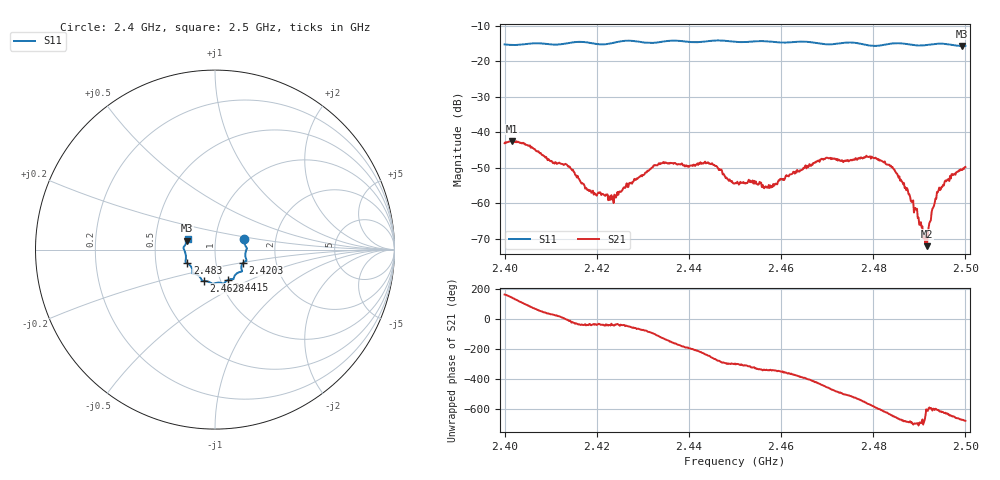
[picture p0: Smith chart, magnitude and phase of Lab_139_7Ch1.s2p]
# Hz S RI R 50
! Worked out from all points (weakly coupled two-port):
!   601 points, 2.4 GHz to 2.5 GHz, reference 50 ohm
!   highest |S21| = -42.52 dB at 2.4017 GHz (marker M1); lowest = -72.1 dB at 2.4917 GHz (marker M2)
!   lowest |S11| = -15.8 dB at 2.4993 GHz (marker M3), VSWR 1.39, Z = 36.4 + j3.68 ohm
!   |S11| at or under -10 dB: start of sweep to end of sweep
!   S12 and S22 are empty: the file has one direction only
!   S11 on the Smith chart (normalised r, x): 2.4 GHz: 1.38, +0.16; 2.4203 GHz: 1.35, -0.21; 2.4415 GHz: 1.09, -0.38; 2.4628 GHz: 0.83, -0.30; 2.483 GHz: 0.73, -0.11; 2.5 GHz: 0.73, +0.09
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2.4e9  0.162 0.0568  -0.00678 0.00168  0 0  0 0
2.401667e9  0.1635 0.0394  -0.00612 0.00431  0 0  0 0
2.413667e9  0.1717 -0.0482  0.00336 -0.000105  0 0  0 0
2.416667e9  0.1754 -0.062  0.00158 -0.00105  0 0  0 0
2.420333e9  0.1557 -0.0746  0.00123 -0.000695  0 0  0 0
2.423833e9  0.1477 -0.1065  0.00101 -0.000845  0 0  0 0
2.433333e9  0.1083 -0.148  -0.00115 -0.00333  0 0  0 0
2.4415e9  0.0732 -0.1687  -0.00317 0.00141  0 0  0 0
2.4455e9  0.0504 -0.1874  -0.000394 0.00343  0 0  0 0
2.45e9  0.0297 -0.1845  0.000741 0.00174  0 0  0 0
2.457667e9  -0.0214 -0.1867  0.00161 0.000751  0 0  0 0
2.462833e9  -0.0624 -0.1745  0.00271 -0.000389  0 0  0 0
2.466667e9  -0.0751 -0.1674  0.00232 -0.00262  0 0  0 0
2.478833e9  -0.1267 -0.1086  -0.00414 0.00175  0 0  0 0
2.483e9  -0.1543 -0.0766  -0.000557 0.00345  0 0  0 0
2.483333e9  -0.1563 -0.0753  -0.000138 0.00347  0 0  0 0
2.487167e9  -0.1634 -0.0597  0.0012 0.000939  0 0  0 0
2.491167e9  -0.166 -0.0157  0.000191 0.000246  0 0  0 0
2.491667e9  -0.168 -0.0106  -9.64e-05 0.000229  0 0  0 0
2.494333e9  -0.1756 0.00854  -0.000506 0.00158  0 0  0 0
2.499333e9  -0.1552 0.0491  0.00184 0.00228  0 0  0 0
2.5e9  -0.1531 0.0578  0.00231 0.00226  0 0  0 0
